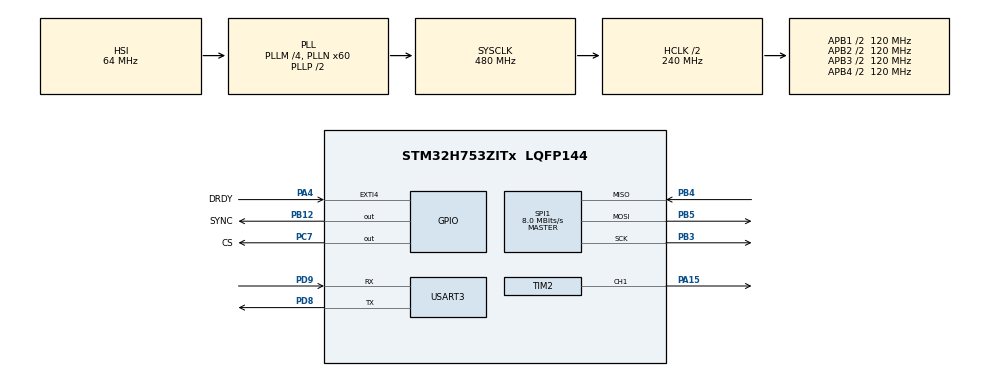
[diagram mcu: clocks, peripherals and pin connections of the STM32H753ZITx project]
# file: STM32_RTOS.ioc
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CORTEX_M7.CPU_DCache=Disabled
CORTEX_M7.CPU_ICache=Disabled
CORTEX_M7.MPU_Control=__NULL
CORTEX_M7.default_mode_Activation=1
FREERTOS.Tasks01=defaultTask,24,128,StartDefaultTask,Default,NULL,Dynamic,NULL,NULL
FREERTOS.configENABLE_FPU=1
FREERTOS.configUSE_NEWLIB_REENTRANT=1
Mcu.Family=STM32H7
Mcu.Name=STM32H753ZITx
Mcu.Package=LQFP144
NVIC.EXTI4_IRQn=true\:5\:0\:false\:false\:true\:true\:true\:true\:true
NVIC.PriorityGroup=NVIC_PRIORITYGROUP_4
NVIC.TIM6_DAC_IRQn=true\:15\:0\:false\:false\:true\:false\:false\:true\:true
NVIC.TimeBase=TIM6_DAC_IRQn
NVIC.TimeBaseIP=TIM6
PA13\ (JTMS/SWDIO).Mode=Serial_Wire
PA13\ (JTMS/SWDIO).Signal=DEBUG_JTMS-SWDIO
PA14\ (JTCK/SWCLK).Mode=Serial_Wire
PA14\ (JTCK/SWCLK).Signal=DEBUG_JTCK-SWCLK
PA15\ (JTDI).Signal=S_TIM2_CH1_ETR
PA4.GPIO_Label=DRDY
PA4.GPIO_ModeDefaultEXTI=GPIO_MODE_IT_FALLING
PA4.Signal=GPXTI4
PB12.GPIO_Label=SYNC
PB12.GPIO_Speed=GPIO_SPEED_FREQ_VERY_HIGH
PB12.PinState=GPIO_PIN_SET
PB12.Signal=GPIO_Output
PB3\ (JTDO/TRACESWO).Mode=Full_Duplex_Master
PB3\ (JTDO/TRACESWO).Signal=SPI1_SCK
PB4\ (NJTRST).Mode=Full_Duplex_Master
PB4\ (NJTRST).Signal=SPI1_MISO
PB5.Mode=Full_Duplex_Master
PB5.Signal=SPI1_MOSI
PC7.GPIO_Label=CS
PC7.GPIO_Speed=GPIO_SPEED_FREQ_VERY_HIGH
PC7.PinState=GPIO_PIN_SET
PC7.Signal=GPIO_Output
PD8.Mode=Asynchronous
PD8.Signal=USART3_TX
PD9.Mode=Asynchronous
PD9.Signal=USART3_RX
ProjectManager.HeapSize=0x200
ProjectManager.StackSize=0x400
ProjectManager.TargetToolchain=STM32CubeIDE
RCC.ADCFreq_Value=128000000
RCC.APB1Freq_Value=120000000
RCC.APB2Freq_Value=120000000
RCC.APB3Freq_Value=120000000
RCC.APB4Freq_Value=120000000
RCC.CortexFreq_Value=480000000
RCC.D1PPRE=RCC_APB3_DIV2
RCC.D2PPRE1=RCC_APB1_DIV2
RCC.D2PPRE2=RCC_APB2_DIV2
RCC.D3PPRE=RCC_APB4_DIV2
RCC.DIVM1=4
RCC.DIVN1=60
RCC.DIVN2=128
RCC.DIVQ1=5
RCC.HCLKFreq_Value=240000000
RCC.HPRE=RCC_HCLK_DIV2
RCC.HSE_VALUE=8000000
RCC.PLL2FRACN=0
RCC.PLL3FRACN=0
RCC.PLLFRACN=0
RCC.PWR_Regulator_Voltage_Scale=PWR_REGULATOR_VOLTAGE_SCALE0
RCC.SPI123CLockSelection=RCC_SPI123CLKSOURCE_PLL2
RCC.SYSCLKFreq_VALUE=480000000
RCC.SYSCLKSource=RCC_SYSCLKSOURCE_PLLCLK
RCC.USBFreq_Value=192000000
SH.S_TIM2_CH1_ETR.0=TIM2_CH1,PWM Generation1 CH1
SPI1.BaudRatePrescaler=SPI_BAUDRATEPRESCALER_16
SPI1.CLKPhase=SPI_PHASE_2EDGE
SPI1.CalculateBaudRate=8.0 MBits/s
SPI1.DataSize=SPI_DATASIZE_8BIT
SPI1.Direction=SPI_DIRECTION_2LINES
SPI1.Mode=SPI_MODE_MASTER
SPI1.NSSPMode=SPI_NSS_PULSE_DISABLE
SPI1.VirtualType=VM_MASTER
TIM2.AutoReloadPreload=TIM_AUTORELOAD_PRELOAD_ENABLE
TIM2.Channel-PWM\ Generation1\ CH1=TIM_CHANNEL_1
TIM2.Period=30
TIM2.Pulse-PWM\ Generation1\ CH1=15
TIM2.TIM_MasterOutputTrigger=TIM_TRGO_UPDATE
USART3.VirtualMode-Asynchronous=VM_ASYNC
VP_FREERTOS_VS_CMSIS_V2.Mode=CMSIS_V2
VP_MEMORYMAP_VS_MEMORYMAP.Mode=CurAppReg
VP_SYS_VS_tim6.Mode=TIM6
board=NUCLEO-H753ZI

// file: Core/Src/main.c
/* USER CODE BEGIN Header */
/**
 ******************************************************************************
 * @file           : main.c
 * @brief          : Main program body
 ******************************************************************************
 * @attention
 *
 * Copyright (c) 2026 STMicroelectronics.
 * All rights reserved.
 *
 * This software is licensed under terms that can be found in the LICENSE file
 * in the root directory of this software component.
 * If no LICENSE file comes with this software, it is provided AS-IS.
 *
 ******************************************************************************
 */
/* USER CODE END Header */
#include "main.h"
#include "cmsis_os.h"

/* USER CODE BEGIN Includes */
#include <stdio.h>
#include <string.h>
#include <stdint.h>
#include <math.h>
#include "fir_coeffs.h"
/* USER CODE END Includes */

/* USER CODE BEGIN PTD */
typedef struct {
	int32_t ch0;
	int32_t ch1;
	int32_t ch2;
	int32_t ch3;
	int32_t raw0;
	int32_t raw1;
	int32_t raw2;
	int32_t raw3;
} adc_result_t;

typedef struct {
	float   buf[FIR_LEN];
	int16_t idx;
} fir_filter_t;
/* USER CODE END PTD */

SPI_HandleTypeDef  hspi1;
TIM_HandleTypeDef  htim2;
UART_HandleTypeDef huart3;

/* Definitions for defaultTask */
osThreadId_t defaultTaskHandle;
const osThreadAttr_t defaultTask_attributes = {
	.name       = "defaultTask",
	.stack_size = 128 * 4,
	.priority   = (osPriority_t) osPriorityNormal,
};

/* USER CODE BEGIN PV */

osThreadId_t ADC_transfer_task_handle;
const osThreadAttr_t ADC_transfer_task_attributes = {
	.name       = "ADC_transfer_task",
	.stack_size = 1024 * 4,
	.priority   = (osPriority_t) osPriorityHigh,
};

osThreadId_t control_task_handle;
const osThreadAttr_t control_task_attributes = {
	.name       = "control_task",
	.stack_size = 1024 * 4,
	.priority   = (osPriority_t) osPriorityAboveNormal,
};

osSemaphoreId_t drdy_sem_handle;
const osSemaphoreAttr_t drdy_sem_attr = { .name = "drdy_sem" };

osMessageQueueId_t adc_queue_handle;

/* 18-byte SPI communication frames */
static uint8_t adc_tx[18] = {0};
static uint8_t adc_rx[18] = {0};

volatile uint16_t status = 0;

/* ADC offset calibration */
static int64_t sum0 = 0;
static int64_t sum1 = 0;
static int64_t sum2 = 0;
static int64_t sum3 = 0;

static int32_t adc_ch0_offset = 0;
static int32_t adc_ch1_offset = 0;
static int32_t adc_ch2_offset = 0;
static int32_t adc_ch3_offset = 0;

static uint8_t offset_done = 0;
static int32_t adc_count   = 0;

/* SPS measurement */
static uint32_t sps_start_tick = 0;
static uint32_t sps_count      = 0;
static uint32_t measured_sps   = 0;
static uint8_t  sps_measured   = 0;

/* CoP and control variables */
static int32_t cop_count      = 0;
static float   cop_sum_x      = 0.0f;
static float   cop_sum_y      = 0.0f;
static uint8_t cop_initialized = 0;

float initial_cop_x = 0.0f;
float initial_cop_y = 0.0f;

/* Sensor positions (meters) — FR, RR, FL, RL */
float pos_x0 =  2.0f;   /* FR */
float pos_y0 = -2.0f;

float pos_x1 =  2.0f;   /* RR */
float pos_y1 =  2.0f;

float pos_x2 = -2.0f;   /* FL */
float pos_y2 = -2.0f;

float pos_x3 = -2.0f;   /* RL */
float pos_y3 =  2.0f;

/* Control gains */
float Kv = 2.0f;
float Kw = 1.5f;
const float dt = 0.01f;

/* FIR filter instances */
static fir_filter_t fir0 = {0};
static fir_filter_t fir1 = {0};
static fir_filter_t fir2 = {0};
static fir_filter_t fir3 = {0};

/* USER CODE END PV */

void SystemClock_Config(void);
static void MX_GPIO_Init(void);
static void MX_SPI1_Init(void);
static void MX_USART3_UART_Init(void);
static void MX_TIM2_Init(void);
void StartDefaultTask(void *argument);

/* USER CODE BEGIN PFP */
static void  init_ADC(void);
static float fir_update(fir_filter_t *f, float new_val);
static void  ADC_transfer_task(void *argument);
static void  control_task(void *argument);
int _write(int file, char *ptr, int len);
/* USER CODE END PFP */

int main(void)
{

	HAL_Init();

	SystemClock_Config();

	MX_GPIO_Init();
	MX_SPI1_Init();
	MX_USART3_UART_Init();
	MX_TIM2_Init();

	/* USER CODE BEGIN 2 */
	HAL_TIM_PWM_Start(&htim2, TIM_CHANNEL_1);
	HAL_Delay(5);
	init_ADC();
	HAL_Delay(1);
	/* USER CODE END 2 */

	osKernelInitialize();

	/* USER CODE BEGIN RTOS_SEMAPHORES */
	drdy_sem_handle = osSemaphoreNew(1, 0, &drdy_sem_attr);
	__HAL_GPIO_EXTI_CLEAR_IT(DRDY_Pin);
	HAL_NVIC_ClearPendingIRQ(DRDY_EXTI_IRQn);
	HAL_NVIC_EnableIRQ(DRDY_EXTI_IRQn);
	/* USER CODE END RTOS_SEMAPHORES */

	/* USER CODE BEGIN RTOS_QUEUES */
	adc_queue_handle = osMessageQueueNew(10, sizeof(adc_result_t), NULL);
	/* USER CODE END RTOS_QUEUES */

	defaultTaskHandle = osThreadNew(StartDefaultTask, NULL, &defaultTask_attributes);
	configASSERT(defaultTaskHandle != NULL);

	/* USER CODE BEGIN RTOS_THREADS */
	ADC_transfer_task_handle = osThreadNew(ADC_transfer_task, NULL, &ADC_transfer_task_attributes);
	configASSERT(ADC_transfer_task_handle != NULL);

	control_task_handle = osThreadNew(control_task, NULL, &control_task_attributes);
	configASSERT(control_task_handle != NULL);
	/* USER CODE END RTOS_THREADS */

	osKernelStart();

	/* We should never get here */
	while (1) {}
}

/* USER CODE BEGIN 4 */

/**
 * @brief Initialise the ADS131M04 ADC over SPI.
 */
static void init_ADC(void)
{
	memset(adc_tx, 0, 18);
	memset(adc_rx, 0, 18);

	/* Reset pulse */
	HAL_GPIO_WritePin(SYNC_GPIO_Port, SYNC_Pin, GPIO_PIN_RESET);
	HAL_Delay(1);
	HAL_GPIO_WritePin(SYNC_GPIO_Port, SYNC_Pin, GPIO_PIN_SET);
	HAL_Delay(10);

	/* Flush startup frame */
	HAL_GPIO_WritePin(CS_GPIO_Port, CS_Pin, GPIO_PIN_RESET);
	HAL_SPI_TransmitReceive(&hspi1, adc_tx, adc_rx, 18, 100);
	HAL_GPIO_WritePin(CS_GPIO_Port, CS_Pin, GPIO_PIN_SET);

	/* CLOCK register: all 4 channels enabled, OSR = 2048 (~2 kSPS) */
	uint16_t CLOCK = (0xF << 8) | (4 << 2);

	/* GAIN register: all channels at gain 32 (101b) */
	uint16_t GAIN1 =
		(5 << 12) |   /* CH3 */
		(5 <<  8) |   /* CH2 */
		(5 <<  4) |   /* CH1 */
		(5 <<  0);    /* CH0 */

	/* Write CLOCK and GAIN1 registers in one burst */
	uint16_t cmd = 0x6000 | (0x03 << 7) | 1;   /* WREG | addr=3 | count=1 */

	memset(adc_tx, 0, 18);
	adc_tx[0] = (cmd   >> 8) & 0xFF;
	adc_tx[1] =  cmd         & 0xFF;
	adc_tx[2] = 0x00;

	adc_tx[3] = (CLOCK >> 8) & 0xFF;
	adc_tx[4] =  CLOCK       & 0xFF;
	adc_tx[5] = 0x00;

	adc_tx[6] = (GAIN1 >> 8) & 0xFF;
	adc_tx[7] =  GAIN1       & 0xFF;
	adc_tx[8] = 0x00;

	HAL_GPIO_WritePin(CS_GPIO_Port, CS_Pin, GPIO_PIN_RESET);
	HAL_SPI_TransmitReceive(&hspi1, adc_tx, adc_rx, 18, 100);
	HAL_GPIO_WritePin(CS_GPIO_Port, CS_Pin, GPIO_PIN_SET);

	/* Flush response */
	memset(adc_tx, 0, 18);
	memset(adc_rx, 0, 18);
	HAL_GPIO_WritePin(CS_GPIO_Port, CS_Pin, GPIO_PIN_RESET);
	HAL_SPI_TransmitReceive(&hspi1, adc_tx, adc_rx, 18, 100);
	HAL_GPIO_WritePin(CS_GPIO_Port, CS_Pin, GPIO_PIN_SET);
}

/**
 * @brief FIR filter update — pushes one sample and returns filtered output.
 */
static float fir_update(fir_filter_t *f, float new_val)
{
	f->buf[f->idx] = new_val;
	f->idx = (f->idx + 1) % FIR_LEN;

	float   acc = 0.0f;
	int16_t tmp;
	for (int16_t i = 0; i < FIR_LEN; i++) {
		tmp = f->idx - 1 - i;
		if (tmp < 0) tmp += FIR_LEN;
		acc += fir_coeffs[i] * f->buf[tmp];
	}
	return acc;
}

static void ADC_transfer_task(void *argument)
{
	for (;;) {
		osSemaphoreAcquire(drdy_sem_handle, osWaitForever);

		/* SPS measurement — runs once */
		if (!sps_measured) {
			sps_count++;
			if (sps_count == 1)
				sps_start_tick = osKernelGetTickCount();
			if (sps_count == 1001) {
				uint32_t elapsed = osKernelGetTickCount() - sps_start_tick;
				measured_sps = 1000000UL / elapsed;
				sps_measured = 1;
				printf("Measured SPS: %lu\r\n", measured_sps);
			}
		}

		/* SPI transfer */
		memset(adc_tx, 0, 18);
		memset(adc_rx, 0, 18);

		HAL_GPIO_WritePin(CS_GPIO_Port, CS_Pin, GPIO_PIN_RESET);
		HAL_SPI_TransmitReceive(&hspi1, adc_tx, adc_rx, 18, 100);
		HAL_GPIO_WritePin(CS_GPIO_Port, CS_Pin, GPIO_PIN_SET);

		/* Parse status word */
		uint16_t status16 = ((uint16_t)adc_rx[0] << 8) | adc_rx[1];
		status = status16;

		/* Reconstruct 24-bit signed channel values */
		uint32_t u0 = ((uint32_t)adc_rx[3]  << 16) | ((uint32_t)adc_rx[4]  << 8) | adc_rx[5];
		uint32_t u1 = ((uint32_t)adc_rx[6]  << 16) | ((uint32_t)adc_rx[7]  << 8) | adc_rx[8];
		uint32_t u2 = ((uint32_t)adc_rx[9]  << 16) | ((uint32_t)adc_rx[10] << 8) | adc_rx[11];
		uint32_t u3 = ((uint32_t)adc_rx[12] << 16) | ((uint32_t)adc_rx[13] << 8) | adc_rx[14];

		/* Sign extend from 24-bit */
		if (u0 & 0x00800000u) u0 |= 0xFF000000u;
		if (u1 & 0x00800000u) u1 |= 0xFF000000u;
		if (u2 & 0x00800000u) u2 |= 0xFF000000u;
		if (u3 & 0x00800000u) u3 |= 0xFF000000u;

		adc_result_t result;
		result.ch0 = (int32_t)u0;
		result.ch1 = (int32_t)u1;
		result.ch2 = (int32_t)u2;
		result.ch3 = (int32_t)u3;

		adc_count++;

		if (!offset_done) {
			/* Accumulate samples for offset calibration */
			if (adc_count > 500) {
				sum0 += result.ch0;
				sum1 += result.ch1;
				sum2 += result.ch2;
				sum3 += result.ch3;

				if (adc_count == 1500) {
					adc_ch0_offset = (int32_t)(sum0 / 1000);
					adc_ch1_offset = (int32_t)(sum1 / 1000);
					adc_ch2_offset = (int32_t)(sum2 / 1000);
					adc_ch3_offset = (int32_t)(sum3 / 1000);
					offset_done = 1;
				}
			}

		} else {

			result.ch0 -= adc_ch0_offset;
			result.ch1 -= adc_ch1_offset;
			result.ch2 -= adc_ch2_offset;
			result.ch3 -= adc_ch3_offset;

			result.raw0 = result.ch0;
			result.raw1 = result.ch1;
			result.raw2 = result.ch2;
			result.raw3 = result.ch3;

			/* Apply FIR filter */
			result.ch0 = (int32_t)fir_update(&fir0, (float)result.ch0);
			result.ch1 = (int32_t)fir_update(&fir1, (float)result.ch1);
			result.ch2 = (int32_t)fir_update(&fir2, (float)result.ch2);
			result.ch3 = (int32_t)fir_update(&fir3, (float)result.ch3);

			osMessageQueuePut(adc_queue_handle, &result, 0, 0);
			osThreadYield();
		}
	}
}

static void control_task(void *argument)
{
	float prev_theta = 0.0f;

	for (;;) {
		osDelay(10);

		/* Wait for ADC calibration */
		if (!offset_done) continue;

		/* Drain queue, keep latest */
		adc_result_t result = {0};
		adc_result_t latest = {0};

		while (osMessageQueueGet(adc_queue_handle, &result, NULL, 0) == osOK)
			latest = result;

		float f0 = (float)latest.ch0;
		float f1 = (float)latest.ch1;
		float f2 = (float)latest.ch2;
		float f3 = (float)latest.ch3;

		float f_sum = f0 + f1 + f2 + f3;

		if (f_sum < 10000.0f) {
			printf("0.0000 0.0000 0.0000\r\n");
			continue;
		}

		/* Center of Pressure */
		float x = (f0*pos_x0 + f1*pos_x1 + f2*pos_x2 + f3*pos_x3) / f_sum;
		float y = (f0*pos_y0 + f1*pos_y1 + f2*pos_y2 + f3*pos_y3) / f_sum;

		if (!cop_initialized) {
			cop_sum_x += x;
			cop_sum_y += y;
			cop_count++;
			if (cop_count >= 100) {
				initial_cop_x = cop_sum_x / cop_count;
				initial_cop_y = cop_sum_y / cop_count;
				cop_initialized = 1;
			}
			continue;
		}

		/* Control law */
		float dx    = x - initial_cop_x;
		float dy    = y - initial_cop_y;
		float r     = sqrtf(dx*dx + dy*dy);
		float theta = atan2f(dy, dx);

		/* Angle difference wrapped to [-pi, pi] */
		float dtheta = atan2f(sinf(theta - prev_theta), cosf(theta - prev_theta));
		float omega  = Kw * dtheta / dt;

		float v  = Kv * r;
		float vx = v * cosf(theta);
		float vy = v * sinf(theta);

		prev_theta = theta;

		/* Output for ROS/Gazebo */
		printf("%.4f %.4f %.4f\r\n", vx, vy, omega);

		/* Output raw vs filtered channel data for validation */
//		printf("C %ld %ld %ld %ld %ld %ld %ld %ld\r\n",
//			latest.raw0, latest.raw1, latest.raw2, latest.raw3,
//			latest.ch0,  latest.ch1,  latest.ch2,  latest.ch3);
	}
}

void HAL_GPIO_EXTI_Callback(uint16_t GPIO_Pin)
{
	if (GPIO_Pin == DRDY_Pin) {
		if (drdy_sem_handle != NULL)
			osSemaphoreRelease(drdy_sem_handle);
	}
}

int _write(int file, char *ptr, int len)
{
	HAL_UART_Transmit(&huart3, (uint8_t*)ptr, len, HAL_MAX_DELAY);
	return len;
}

/* USER CODE END 4 */

void StartDefaultTask(void *argument)
{
	for (;;)
		osDelay(1);
}

void SystemClock_Config(void)
{
	RCC_OscInitTypeDef RCC_OscInitStruct = {0};
	RCC_ClkInitTypeDef RCC_ClkInitStruct = {0};

	HAL_PWREx_ConfigSupply(PWR_LDO_SUPPLY);
	__HAL_PWR_VOLTAGESCALING_CONFIG(PWR_REGULATOR_VOLTAGE_SCALE0);
	while (!__HAL_PWR_GET_FLAG(PWR_FLAG_VOSRDY)) {}

	RCC_OscInitStruct.OscillatorType      = RCC_OSCILLATORTYPE_HSI;
	RCC_OscInitStruct.HSIState            = RCC_HSI_DIV1;
	RCC_OscInitStruct.HSICalibrationValue = RCC_HSICALIBRATION_DEFAULT;
	RCC_OscInitStruct.PLL.PLLState        = RCC_PLL_ON;
	RCC_OscInitStruct.PLL.PLLSource       = RCC_PLLSOURCE_HSI;
	RCC_OscInitStruct.PLL.PLLM            = 4;
	RCC_OscInitStruct.PLL.PLLN            = 60;
	RCC_OscInitStruct.PLL.PLLP            = 2;
	RCC_OscInitStruct.PLL.PLLQ            = 5;
	RCC_OscInitStruct.PLL.PLLR            = 2;
	RCC_OscInitStruct.PLL.PLLRGE          = RCC_PLL1VCIRANGE_3;
	RCC_OscInitStruct.PLL.PLLVCOSEL       = RCC_PLL1VCOWIDE;
	RCC_OscInitStruct.PLL.PLLFRACN        = 0;
	if (HAL_RCC_OscConfig(&RCC_OscInitStruct) != HAL_OK) Error_Handler();

	RCC_ClkInitStruct.ClockType      = RCC_CLOCKTYPE_HCLK | RCC_CLOCKTYPE_SYSCLK
	                                 | RCC_CLOCKTYPE_PCLK1 | RCC_CLOCKTYPE_PCLK2
	                                 | RCC_CLOCKTYPE_D3PCLK1 | RCC_CLOCKTYPE_D1PCLK1;
	RCC_ClkInitStruct.SYSCLKSource   = RCC_SYSCLKSOURCE_PLLCLK;
	RCC_ClkInitStruct.SYSCLKDivider  = RCC_SYSCLK_DIV1;
	RCC_ClkInitStruct.AHBCLKDivider  = RCC_HCLK_DIV2;
	RCC_ClkInitStruct.APB3CLKDivider = RCC_APB3_DIV2;
	RCC_ClkInitStruct.APB1CLKDivider = RCC_APB1_DIV2;
	RCC_ClkInitStruct.APB2CLKDivider = RCC_APB2_DIV2;
	RCC_ClkInitStruct.APB4CLKDivider = RCC_APB4_DIV2;
	if (HAL_RCC_ClockConfig(&RCC_ClkInitStruct, FLASH_LATENCY_4) != HAL_OK) Error_Handler();
}

static void MX_SPI1_Init(void)
{
	hspi1.Instance               = SPI1;
	hspi1.Init.Mode              = SPI_MODE_MASTER;
	hspi1.Init.Direction         = SPI_DIRECTION_2LINES;
	hspi1.Init.DataSize          = SPI_DATASIZE_8BIT;
	hspi1.Init.CLKPolarity       = SPI_POLARITY_LOW;
	hspi1.Init.CLKPhase          = SPI_PHASE_2EDGE;
	hspi1.Init.NSS               = SPI_NSS_SOFT;
	hspi1.Init.BaudRatePrescaler = SPI_BAUDRATEPRESCALER_16;
	hspi1.Init.FirstBit          = SPI_FIRSTBIT_MSB;
	hspi1.Init.TIMode            = SPI_TIMODE_DISABLE;
	hspi1.Init.CRCCalculation    = SPI_CRCCALCULATION_DISABLE;
	hspi1.Init.CRCPolynomial     = 0x0;
	hspi1.Init.NSSPMode          = SPI_NSS_PULSE_DISABLE;
	hspi1.Init.NSSPolarity       = SPI_NSS_POLARITY_LOW;
	hspi1.Init.FifoThreshold     = SPI_FIFO_THRESHOLD_01DATA;
	hspi1.Init.TxCRCInitializationPattern = SPI_CRC_INITIALIZATION_ALL_ZERO_PATTERN;
	hspi1.Init.RxCRCInitializationPattern = SPI_CRC_INITIALIZATION_ALL_ZERO_PATTERN;
	hspi1.Init.MasterSSIdleness          = SPI_MASTER_SS_IDLENESS_00CYCLE;
	hspi1.Init.MasterInterDataIdleness   = SPI_MASTER_INTERDATA_IDLENESS_00CYCLE;
	hspi1.Init.MasterReceiverAutoSusp    = SPI_MASTER_RX_AUTOSUSP_DISABLE;
	hspi1.Init.MasterKeepIOState         = SPI_MASTER_KEEP_IO_STATE_DISABLE;
	hspi1.Init.IOSwap                    = SPI_IO_SWAP_DISABLE;
	if (HAL_SPI_Init(&hspi1) != HAL_OK) Error_Handler();
}

static void MX_TIM2_Init(void)
{
	TIM_MasterConfigTypeDef sMasterConfig = {0};
	TIM_OC_InitTypeDef      sConfigOC     = {0};

	htim2.Instance               = TIM2;
	htim2.Init.Prescaler         = 0;
	htim2.Init.CounterMode       = TIM_COUNTERMODE_UP;
	htim2.Init.Period            = 29;   /* 240MHz / 30 = 8 MHz MCLK */
	htim2.Init.ClockDivision     = TIM_CLOCKDIVISION_DIV1;
	htim2.Init.AutoReloadPreload = TIM_AUTORELOAD_PRELOAD_ENABLE;
	if (HAL_TIM_PWM_Init(&htim2) != HAL_OK) Error_Handler();

	sMasterConfig.MasterOutputTrigger = TIM_TRGO_UPDATE;
	sMasterConfig.MasterSlaveMode     = TIM_MASTERSLAVEMODE_DISABLE;
	if (HAL_TIMEx_MasterConfigSynchronization(&htim2, &sMasterConfig) != HAL_OK) Error_Handler();

	sConfigOC.OCMode     = TIM_OCMODE_PWM1;
	sConfigOC.Pulse      = 14;   /* 50% duty cycle of period=29 */
	sConfigOC.OCPolarity = TIM_OCPOLARITY_HIGH;
	sConfigOC.OCFastMode = TIM_OCFAST_DISABLE;
	if (HAL_TIM_PWM_ConfigChannel(&htim2, &sConfigOC, TIM_CHANNEL_1) != HAL_OK) Error_Handler();

	HAL_TIM_MspPostInit(&htim2);
}

static void MX_USART3_UART_Init(void)
{
	huart3.Instance            = USART3;
	huart3.Init.BaudRate       = 115200;
	huart3.Init.WordLength     = UART_WORDLENGTH_8B;
	huart3.Init.StopBits       = UART_STOPBITS_1;
	huart3.Init.Parity         = UART_PARITY_NONE;
	huart3.Init.Mode           = UART_MODE_TX_RX;
	huart3.Init.HwFlowCtl      = UART_HWCONTROL_NONE;
	huart3.Init.OverSampling   = UART_OVERSAMPLING_16;
	huart3.Init.OneBitSampling = UART_ONE_BIT_SAMPLE_DISABLE;
	huart3.Init.ClockPrescaler = UART_PRESCALER_DIV1;
	huart3.AdvancedInit.AdvFeatureInit = UART_ADVFEATURE_NO_INIT;
	if (HAL_UART_Init(&huart3) != HAL_OK) Error_Handler();
	if (HAL_UARTEx_SetTxFifoThreshold(&huart3, UART_TXFIFO_THRESHOLD_1_8) != HAL_OK) Error_Handler();
	if (HAL_UARTEx_SetRxFifoThreshold(&huart3, UART_RXFIFO_THRESHOLD_1_8) != HAL_OK) Error_Handler();
	if (HAL_UARTEx_DisableFifoMode(&huart3) != HAL_OK) Error_Handler();
}

static void MX_GPIO_Init(void)
{
	GPIO_InitTypeDef GPIO_InitStruct = {0};

	__HAL_RCC_GPIOA_CLK_ENABLE();
	__HAL_RCC_GPIOB_CLK_ENABLE();
	__HAL_RCC_GPIOD_CLK_ENABLE();
	__HAL_RCC_GPIOC_CLK_ENABLE();

	HAL_GPIO_WritePin(SYNC_GPIO_Port, SYNC_Pin, GPIO_PIN_SET);
	HAL_GPIO_WritePin(CS_GPIO_Port,   CS_Pin,   GPIO_PIN_SET);

	/* DRDY interrupt pin */
	GPIO_InitStruct.Pin  = DRDY_Pin;
	GPIO_InitStruct.Mode = GPIO_MODE_IT_FALLING;
	GPIO_InitStruct.Pull = GPIO_NOPULL;
	HAL_GPIO_Init(DRDY_GPIO_Port, &GPIO_InitStruct);

	/* SYNC pin */
	GPIO_InitStruct.Pin   = SYNC_Pin;
	GPIO_InitStruct.Mode  = GPIO_MODE_OUTPUT_PP;
	GPIO_InitStruct.Pull  = GPIO_NOPULL;
	GPIO_InitStruct.Speed = GPIO_SPEED_FREQ_VERY_HIGH;
	HAL_GPIO_Init(SYNC_GPIO_Port, &GPIO_InitStruct);

	/* CS pin */
	GPIO_InitStruct.Pin   = CS_Pin;
	GPIO_InitStruct.Mode  = GPIO_MODE_OUTPUT_PP;
	GPIO_InitStruct.Pull  = GPIO_NOPULL;
	GPIO_InitStruct.Speed = GPIO_SPEED_FREQ_VERY_HIGH;
	HAL_GPIO_Init(CS_GPIO_Port, &GPIO_InitStruct);

	HAL_NVIC_SetPriority(DRDY_EXTI_IRQn, 5, 0);
	HAL_NVIC_EnableIRQ(DRDY_EXTI_IRQn);

	/* USER CODE BEGIN MX_GPIO_Init_2 */
	HAL_NVIC_DisableIRQ(DRDY_EXTI_IRQn);   /* re-enabled after semaphore is created */
	/* USER CODE END MX_GPIO_Init_2 */
}

void HAL_TIM_PeriodElapsedCallback(TIM_HandleTypeDef *htim)
{
	if (htim->Instance == TIM6)
		HAL_IncTick();
}

void Error_Handler(void)
{
	__disable_irq();
	while (1) {}
}
